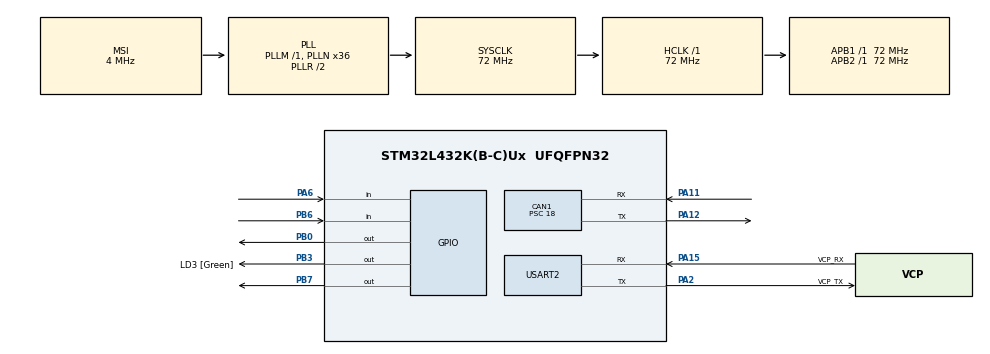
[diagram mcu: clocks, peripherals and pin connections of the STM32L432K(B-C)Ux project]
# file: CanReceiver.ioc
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Mcu.Family=STM32L4
RCC.CortexFreq_Value=72000000
PA0.GPIO_Label=MCO [High speed clock in]
PA11.Mode=CAN_Activate
PA15\ (JTDI).Signal=USART2_RX
PC15-OSC32_OUT\ (PC15).Mode=LSE-External-Oscillator
RCC.SYSCLKSource=RCC_SYSCLKSOURCE_PLLCLK
ProjectManager.StackSize=0x400
PB3\ (JTDO-TRACESWO).Signal=GPIO_Output
PC14-OSC32_IN\ (PC14).Mode=LSE-External-Oscillator
PA14\ (JTCK-SWCLK).Signal=SYS_JTCK-SWCLK
PA15\ (JTDI).Mode=Asynchronous
PA12.Signal=CAN1_TX
RCC.HCLKFreq_Value=72000000
RCC.APB2TimFreq_Value=72000000
PB6.Signal=GPIO_Input
RCC.AHBFreq_Value=72000000
RCC.HSE_VALUE=8000000
USART2.VirtualMode-Asynchronous=VM_ASYNC
RCC.PLLMUL=RCC_PLLMUL_4
CAN1.RFLM=DISABLE
PA6.GPIO_PuPd=GPIO_PULLDOWN
PA0.Mode=HSE-External-Clock-Source-for-LittleOrca
PB7.Signal=GPIO_Output
PA0.Signal=RCC_CK_IN
CAN1.Prescaler=18
Mcu.Package=UFQFPN32
PA6.Signal=GPIO_Input
PA2.GPIO_Label=VCP_TX
RCC.APB1TimFreq_Value=72000000
PA13\ (JTMS-SWDIO).Signal=SYS_JTMS-SWDIO
CAN1.CalculateTimeBit=4000.00
RCC.HSI48_VALUE=48000000
CAN1.CalculateTimeQuantum=250.0
RCC.MSI_VALUE=4000000
PA14\ (JTCK-SWCLK).Mode=Serial_Wire
PB6.GPIO_PuPd=GPIO_PULLDOWN
CAN1.CalculateBaudRate=250000
PC15-OSC32_OUT\ (PC15).Signal=RCC_OSC32_OUT
PA14\ (JTCK-SWCLK).GPIO_Label=SWCLK
PB3\ (JTDO-TRACESWO).GPIO_Label=LD3 [Green]
RCC.HSI16_VALUE=16000000
CAN1.BS2=CAN_BS2_8TQ
CAN1.BS1=CAN_BS1_7TQ
ProjectManager.TargetToolchain=STM32CubeIDE
board=NUCLEO-L432KC
RCC.VCOOutputFreq_Value=144000000
RCC.APB2Freq_Value=72000000
PA13\ (JTMS-SWDIO).GPIO_Label=SWDIO
PA15\ (JTDI).GPIO_Label=VCP_RX
Mcu.Name=STM32L432K(B-C)Ux
PA2.Signal=USART2_TX
PA13\ (JTMS-SWDIO).Mode=Serial_Wire
RCC.SYSCLKFreq_VALUE=72000000
PA12.Mode=CAN_Activate
PC14-OSC32_IN\ (PC14).Signal=RCC_OSC32_IN
PA11.Signal=CAN1_RX
ProjectManager.HeapSize=0x200
RCC.HSI_VALUE=16000000
NVIC.PriorityGroup=NVIC_PRIORITYGROUP_4
RCC.PLLN=36
PA2.Mode=Asynchronous
RCC.APB1Freq_Value=72000000
PB0.Signal=GPIO_Output
NVIC.CAN1_RX0_IRQn=true\:0\:0\:false\:false\:true\:true\:true

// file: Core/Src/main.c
/* USER CODE BEGIN Header */
/**
  ******************************************************************************
  * @file           : main.c
  * @brief          : Main program body
  ******************************************************************************
  * @attention
  *
  * <h2><center>&copy; Copyright (c) 2021 STMicroelectronics.
  * All rights reserved.</center></h2>
  *
  * This software component is licensed by ST under BSD 3-Clause license,
  * the "License"; You may not use this file except in compliance with the
  * License. You may obtain a copy of the License at:
  *                        opensource.org/licenses/BSD-3-Clause
  *
  ******************************************************************************
  */
/* USER CODE END Header */
#include "main.h"

/* USER CODE BEGIN Includes */
#include "circle_queue.h"
/* USER CODE END Includes */

CAN_HandleTypeDef hcan1;

UART_HandleTypeDef huart2;

/* USER CODE BEGIN PV */
CAN_FilterTypeDef CanFilter;
CAN_RxHeaderTypeDef CanRxHeader;

struct Queue queueCANRX ={0,0,{0}};
struct Queue GPSDATA = {0,0,{0}};
struct Queue ACCEL = {0,0,{0}};
struct Queue DCMOTOR = {0,0,{0}};
uint32_t GPSID = 0x3;
uint32_t ACCELID = 0x5;
uint32_t DCMOTORID = 0x7;
int hej = 0;

#define PACKAGE_SIZE 8
/* USER CODE END PV */

void SystemClock_Config(void);
static void MX_GPIO_Init(void);
static void MX_USART2_UART_Init(void);
static void MX_CAN1_Init(void);

int main(void)
{

  /* MCU Configuration--------------------------------------------------------*/

  /* Reset of all peripherals, Initializes the Flash interface and the Systick. */
	HAL_Init();

  /* Configure the system clock */
  SystemClock_Config();

  /* Initialize all configured peripherals */
  MX_GPIO_Init();
  MX_USART2_UART_Init();
  MX_CAN1_Init();
  /* USER CODE BEGIN 2 */
  HAL_GPIO_WritePin(GPIOB, GPIO_PIN_6, GPIO_PIN_SET);
  /* USER CODE END 2 */

  /* Infinite loop */
  while (1)
  {
	  /*if (queueCANRX.queue[0] == 15) {
		  HAL_GPIO_WritePin(GPIOB, GPIO_PIN_6, GPIO_PIN_SET);
	  }
	  if (queueCANRX.queue[8] == 27) {
		  HAL_GPIO_WritePin(GPIOB, GPIO_PIN_7, GPIO_PIN_SET);
	  	  }
	  if (queueCANRX.queue[16] == 102) {
		  HAL_GPIO_WritePin(GPIOB, GPIO_PIN_0, GPIO_PIN_SET);
	  	  }*/
  }
}

void SystemClock_Config(void)
{
  RCC_OscInitTypeDef RCC_OscInitStruct = {0};
  RCC_ClkInitTypeDef RCC_ClkInitStruct = {0};
  RCC_PeriphCLKInitTypeDef PeriphClkInit = {0};

  /** Configure LSE Drive Capability
  */
  HAL_PWR_EnableBkUpAccess();
  __HAL_RCC_LSEDRIVE_CONFIG(RCC_LSEDRIVE_LOW);
  /** Initializes the RCC Oscillators according to the specified parameters
  * in the RCC_OscInitTypeDef structure.
  */
  RCC_OscInitStruct.OscillatorType = RCC_OSCILLATORTYPE_LSE|RCC_OSCILLATORTYPE_MSI;
  RCC_OscInitStruct.LSEState = RCC_LSE_ON;
  RCC_OscInitStruct.MSIState = RCC_MSI_ON;
  RCC_OscInitStruct.MSICalibrationValue = 0;
  RCC_OscInitStruct.MSIClockRange = RCC_MSIRANGE_6;
  RCC_OscInitStruct.PLL.PLLState = RCC_PLL_ON;
  RCC_OscInitStruct.PLL.PLLSource = RCC_PLLSOURCE_MSI;
  RCC_OscInitStruct.PLL.PLLM = 1;
  RCC_OscInitStruct.PLL.PLLN = 36;
  RCC_OscInitStruct.PLL.PLLP = RCC_PLLP_DIV7;
  RCC_OscInitStruct.PLL.PLLQ = RCC_PLLQ_DIV2;
  RCC_OscInitStruct.PLL.PLLR = RCC_PLLR_DIV2;
  if (HAL_RCC_OscConfig(&RCC_OscInitStruct) != HAL_OK)
  {
    Error_Handler();
  }
  /** Initializes the CPU, AHB and APB buses clocks
  */
  RCC_ClkInitStruct.ClockType = RCC_CLOCKTYPE_HCLK|RCC_CLOCKTYPE_SYSCLK
                              |RCC_CLOCKTYPE_PCLK1|RCC_CLOCKTYPE_PCLK2;
  RCC_ClkInitStruct.SYSCLKSource = RCC_SYSCLKSOURCE_PLLCLK;
  RCC_ClkInitStruct.AHBCLKDivider = RCC_SYSCLK_DIV1;
  RCC_ClkInitStruct.APB1CLKDivider = RCC_HCLK_DIV1;
  RCC_ClkInitStruct.APB2CLKDivider = RCC_HCLK_DIV1;

  if (HAL_RCC_ClockConfig(&RCC_ClkInitStruct, FLASH_LATENCY_4) != HAL_OK)
  {
    Error_Handler();
  }
  PeriphClkInit.PeriphClockSelection = RCC_PERIPHCLK_USART2;
  PeriphClkInit.Usart2ClockSelection = RCC_USART2CLKSOURCE_PCLK1;
  if (HAL_RCCEx_PeriphCLKConfig(&PeriphClkInit) != HAL_OK)
  {
    Error_Handler();
  }
  /** Configure the main internal regulator output voltage
  */
  if (HAL_PWREx_ControlVoltageScaling(PWR_REGULATOR_VOLTAGE_SCALE1) != HAL_OK)
  {
    Error_Handler();
  }
  /** Enable MSI Auto calibration
  */
  HAL_RCCEx_EnableMSIPLLMode();
}

static void MX_CAN1_Init(void)
{

  /* USER CODE BEGIN CAN1_Init 0 */
	  uint32_t ext_id = 0x00000000;							// Den største værdi der kan være på MSB er 1
	  uint32_t mask = 0xFFFFFFE0;
	  CanFilter.FilterMode = CAN_FILTERMODE_IDMASK;			// Vi vælger at bruge mask mode
	  CanFilter.FilterIdHigh = (ext_id & 0x1FFFFFFF) >> 13;// (ext_id << 3) >> 16;						// Da vi har 32 bit ID, er dette de 16 MSB af ID
	  CanFilter.FilterIdLow =  (ext_id << 3) | CAN_ID_EXT;						// Da vi har 32 bit ID, er dette de 16 LSB af ID
	  CanFilter.FilterMaskIdHigh = (mask & 0x1FFFFFFF) >> 13;// << 5;					// Maskens 16 MSB
	  CanFilter.FilterMaskIdLow = (mask << 3);// << 5 | 0x10;					// Maskens 16 LSB
	  CanFilter.FilterScale = CAN_FILTERSCALE_32BIT;		// ID er et 32 bit-tal
	  CanFilter.FilterActivation = ENABLE;					// Vi aktiverer filteret
	  CanFilter.FilterBank = 0;								// Vi vælger filter 0 ud af 14 mulige filtre
	  CanFilter.FilterFIFOAssignment = CAN_FILTER_FIFO0;	// Vi vælger FIFO0 til forskel for FIFO1

	  CanRxHeader.DLC = PACKAGE_SIZE;
	  CanRxHeader.ExtId = 0x0;
	  CanRxHeader.IDE = CAN_ID_EXT;
	  CanRxHeader.RTR = CAN_RTR_DATA;
	  CanRxHeader.FilterMatchIndex = 0x00;
  /* USER CODE END CAN1_Init 0 */

  /* USER CODE BEGIN CAN1_Init 1 */
	  __HAL_RCC_CAN1_CLK_ENABLE();

  /* USER CODE END CAN1_Init 1 */
  hcan1.Instance = CAN1;
  hcan1.Init.Prescaler = 18;
  hcan1.Init.Mode = CAN_MODE_NORMAL;
  hcan1.Init.SyncJumpWidth = CAN_SJW_1TQ;
  hcan1.Init.TimeSeg1 = CAN_BS1_7TQ;
  hcan1.Init.TimeSeg2 = CAN_BS2_8TQ;
  hcan1.Init.TimeTriggeredMode = DISABLE;
  hcan1.Init.AutoBusOff = DISABLE;
  hcan1.Init.AutoWakeUp = DISABLE;
  hcan1.Init.AutoRetransmission = DISABLE;
  hcan1.Init.ReceiveFifoLocked = DISABLE;
  hcan1.Init.TransmitFifoPriority = DISABLE;
  if (HAL_CAN_Init(&hcan1) != HAL_OK)
  {
    Error_Handler();
  }
  /* USER CODE BEGIN CAN1_Init 2 */

    while (HAL_CAN_ConfigFilter(&hcan1, &CanFilter) != HAL_OK) {}
    HAL_CAN_ActivateNotification(&hcan1, CAN_IT_RX_FIFO0_MSG_PENDING);
    HAL_CAN_Start(&hcan1);
  /* USER CODE END CAN1_Init 2 */

}

static void MX_USART2_UART_Init(void)
{

  huart2.Instance = USART2;
  huart2.Init.BaudRate = 115200;
  huart2.Init.WordLength = UART_WORDLENGTH_8B;
  huart2.Init.StopBits = UART_STOPBITS_1;
  huart2.Init.Parity = UART_PARITY_NONE;
  huart2.Init.Mode = UART_MODE_TX_RX;
  huart2.Init.HwFlowCtl = UART_HWCONTROL_NONE;
  huart2.Init.OverSampling = UART_OVERSAMPLING_16;
  huart2.Init.OneBitSampling = UART_ONE_BIT_SAMPLE_DISABLE;
  huart2.AdvancedInit.AdvFeatureInit = UART_ADVFEATURE_NO_INIT;
  if (HAL_UART_Init(&huart2) != HAL_OK)
  {
    Error_Handler();
  }

}

static void MX_GPIO_Init(void)
{
  GPIO_InitTypeDef GPIO_InitStruct = {0};

  /* GPIO Ports Clock Enable */
  __HAL_RCC_GPIOC_CLK_ENABLE();
  __HAL_RCC_GPIOA_CLK_ENABLE();
  __HAL_RCC_GPIOB_CLK_ENABLE();

  /*Configure GPIO pin Output Level */
  HAL_GPIO_WritePin(GPIOB, GPIO_PIN_0|LD3_Pin|GPIO_PIN_6|GPIO_PIN_7, GPIO_PIN_RESET);

  /*Configure GPIO pins : PB0 LD3_Pin PB6 PB7 */
  GPIO_InitStruct.Pin = GPIO_PIN_0|LD3_Pin|GPIO_PIN_6|GPIO_PIN_7;
  GPIO_InitStruct.Mode = GPIO_MODE_OUTPUT_PP;
  GPIO_InitStruct.Pull = GPIO_NOPULL;
  GPIO_InitStruct.Speed = GPIO_SPEED_FREQ_LOW;
  HAL_GPIO_Init(GPIOB, &GPIO_InitStruct);

}

/* USER CODE BEGIN 4 */
void receiveData() {
	uint8_t buffer[PACKAGE_SIZE] = {0};

	while (HAL_CAN_GetRxFifoFillLevel(&hcan1, CAN_RX_FIFO0) > 0) {
		HAL_GPIO_WritePin(GPIOB, GPIO_PIN_6, GPIO_PIN_RESET);
		if (!QueueFull(&queueCANRX)) { // Hvis køen ikke er fuld - Hvis der er en plads til at modtage en besked
			HAL_CAN_GetRxMessage(&hcan1, CAN_RX_FIFO0, &CanRxHeader, buffer); // Modtag beskeden og læg den i buffer
			hej++;
			placeData(buffer);
			if (hej > 384) {
				int dev = 0;
			}
			/*
			for(int i = 0; i < PACKAGE_SIZE; i++){
				EnterQueue(&queueCANRX, buffer[i]); // Læg buffer ind i modtager-queuen
			}*/
		}
	}
}

void placeData(uint8_t *DataPass) {
	if (CanRxHeader.ExtId == GPSID)
	{
		for(int i = 0; i < PACKAGE_SIZE;i++) {
			if (!QueueFull(&GPSDATA)) {
				EnterQueue(&GPSDATA, *(DataPass + i));
			}

		}
	}
	if (CanRxHeader.ExtId == ACCELID) {
		for(int i = 0; i < PACKAGE_SIZE;i++) {
			if (!QueueFull(&ACCEL)) {
				EnterQueue(&ACCEL, *(DataPass + i));
			}
		}
	}
	if (CanRxHeader.ExtId == DCMOTORID) {
		for(int i = 0; i < PACKAGE_SIZE;i++) {
			if (!QueueFull(&DCMOTOR)) {
				EnterQueue(&DCMOTOR, *(DataPass + i));
			}
		}
	}

}
/* USER CODE END 4 */

void Error_Handler(void)
{
  __disable_irq();
  while (1)
  {
  }
}

/************************ (C) COPYRIGHT STMicroelectronics *****END OF FILE****/
